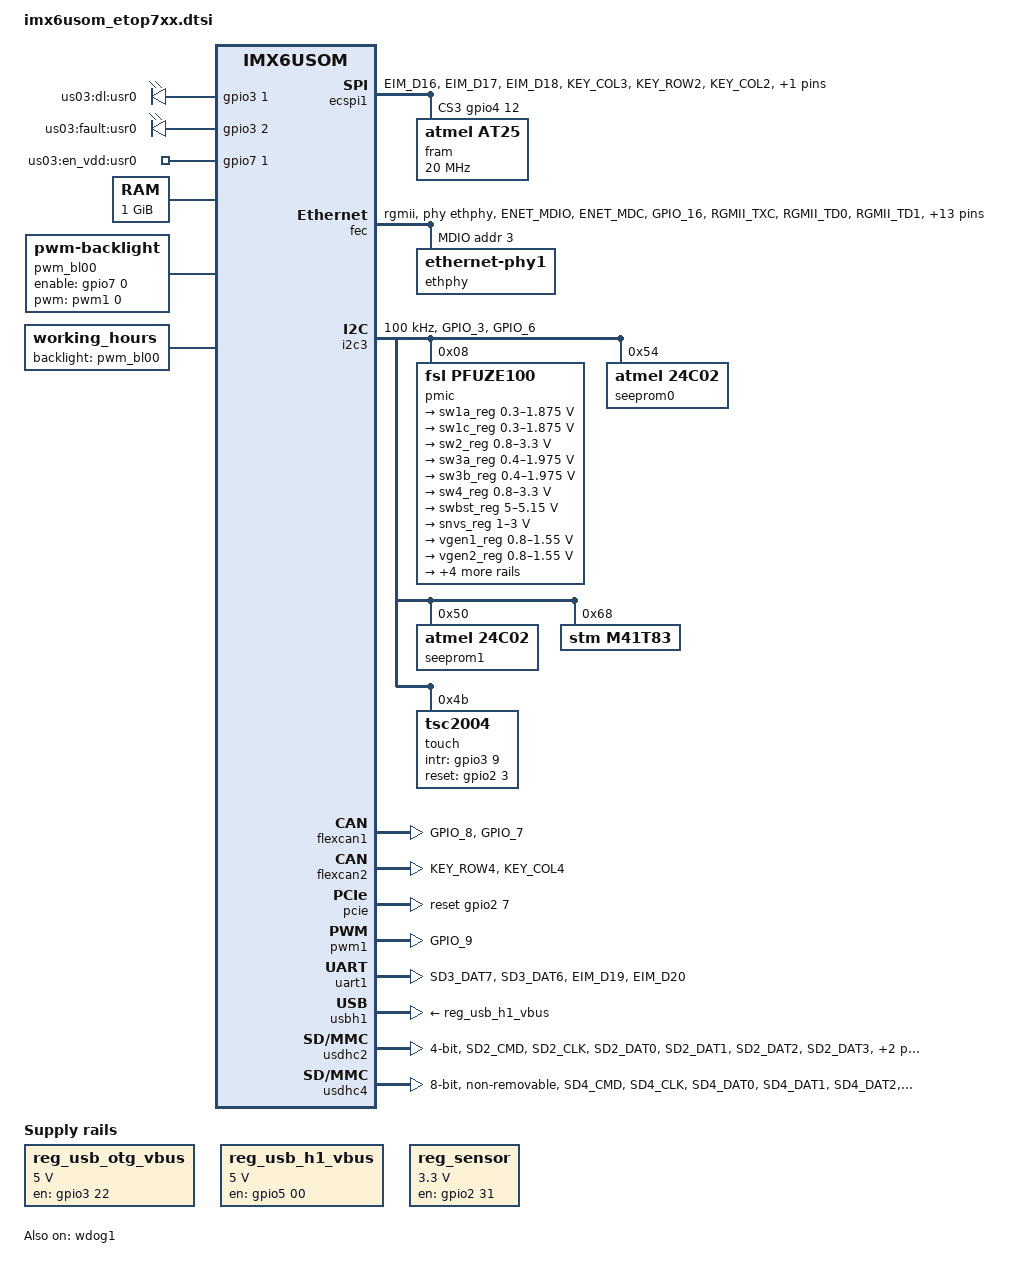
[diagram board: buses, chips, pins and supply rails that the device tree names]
/*
 * Copyright (C) 2016 Exor S.p.a
 * Written by: G. Pavoni Exor S.p.a. (starting from the imx6usom_be15a.dtsi file)
 * 
 * Copyright 2012 Freescale Semiconductor, Inc.
 * Copyright 2011 Linaro Ltd.
 *
 * The code contained herein is licensed under the GNU General Public
 * License. You may obtain a copy of the GNU General Public License
 * Version 2 or later at the following locations:
 *
 * http://www.opensource.org/licenses/gpl-license.html
 * http://www.gnu.org/copyleft/gpl.html
 */

#include <dt-bindings/input/input.h>

/ {
	aliases {
		mxcfb0 = &mxcfb1;
		mmc3 = &usdhc1;
		mmc0 = &usdhc2;
		mmc2 = &usdhc3;
		mmc1 = &usdhc4;
		i2c2 = &i2c1;
		i2c1 = &i2c2;
		i2c0 = &i2c3;
	};

	leds {
		pinctrl-names = "default";
		pinctrl-0 = <&user_leds_default>;

		compatible = "gpio-leds";

		led@1 {
			label = "us03:dl:usr0";
			gpios = <&gpio3 1 0>;
			default-state = "on";
		};

		led@2 {
			label = "us03:fault:usr0";
			gpios = <&gpio3 2 0>;
			default-state = "off";
		};
		
		led@3 {
			label = "us03:en_vdd:usr0";
			gpios = <&gpio7 1 0>;
			default-state = "on";
		};
	};

	memory {
		reg = <0x10000000 0x40000000>;
	};

	regulators {
		compatible = "simple-bus";
		#address-cells = <1>;
		#size-cells = <0>;

		reg_usb_otg_vbus: regulator@0 {
			compatible = "regulator-fixed";
			reg = <0>;
			regulator-name = "usb_otg_vbus";
			regulator-min-microvolt = <5000000>;
			regulator-max-microvolt = <5000000>;
			gpio = <&gpio3 22 0>;
			enable-active-high;
		};

		reg_usb_h1_vbus: regulator@1 {
			compatible = "regulator-fixed";
			reg = <1>;
			regulator-name = "usb_h1_vbus";
			regulator-min-microvolt = <5000000>;
			regulator-max-microvolt = <5000000>;
			gpio = <&gpio5 00 0>;
			enable-active-high;
		};
		reg_sensor: regulator@3 {
			compatible = "regulator-fixed";
			reg = <3>;
			regulator-name = "sensor-supply";
			regulator-min-microvolt = <3300000>;
			regulator-max-microvolt = <3300000>;
			gpio = <&gpio2 31 0>;
			startup-delay-us = <500>;
			enable-active-high;
		};
	};

	mxcfb1: fb@0 {
		compatible = "fsl,mxc_sdc_fb";
		disp_dev = "lcd";
		interface_pix_fmt = "RGB565";
		mode_str ="CLAA-WVGA";
		default_bpp = <16>;
		int_clk = <0>;
		late_init = <0>;
		status = "disabled";
	};

	lcd@0 {
		compatible = "fsl,lcd";
		ipu_id = <0>;
		disp_id = <0>;
		default_ifmt = "RGB565";
		pinctrl-names = "default";
		pinctrl-0 = <&pinctrl_ipu1>;
		status = "okay";
	};

	pwm_bl00: backlight {
		compatible = "pwm-backlight";
		pwms = <&pwm1 0 50000>;
		brightness-levels = <0 4 8 12 16 20 24 28 32 36 40 44 48 52 56 60 64 68 72 76 80 84 88 92 96 100>;
		default-brightness-level = <25>;
		enable-gpios = <&gpio7 0 0>;
		status = "okay";
	};

	working_hours {
	  compatible = "working_hours";
	  eeprom = <&seeprom0>;
	  backlight = <&pwm_bl00>;
	  rtcnvram = <&m41t83>;
	  status = "okay";
	};
};

&cpu0 {
	arm-supply = <&sw1a_reg>;
	soc-supply = <&sw1c_reg>;
};

&ecspi1 {
	fsl,spi-num-chipselects = <4>;
	cs-gpios = <&gpio5 25 0>, /* CS0 */
	           <&gpio4 10 0>, /* CS1 */
	           <&gpio4 11 0>, /* CS2 */
	           <&gpio4 12 0>; /* CS3 */
	pinctrl-names = "default";
	pinctrl-0 = <&pinctrl_ecspi1>;
	status = "okay";

	fram: at25@3 {
		compatible = "atmel,at25", "st,m95256";
		reg = <3>;
		spi-max-frequency = <20000000>;
		pagesize = <64>;
		size = <65536>;
		address-width = <16>;
	};
	
};

&fec {
	pinctrl-names = "default";
	pinctrl-0 = <&pinctrl_enet>;
	phy-mode = "rgmii";
	status = "okay";

	phy-handle = <&ethphy>;
	mdio {
		#address-cells = <1>;
		#size-cells = <0>;
		ethphy: ethernet-phy1 {
			reg = <3>;
		};
	};
};

&i2c3 {
	clock-frequency = <100000>;
	pinctrl-names = "default";
	pinctrl-0 = <&pinctrl_i2c3>;
	status = "okay";

	pmic: pfuze100@08 {
		compatible = "fsl,pfuze100";
		reg = <0x08>;

		regulators {
			sw1a_reg: sw1ab {
				regulator-min-microvolt = <300000>;
				regulator-max-microvolt = <1875000>;
				regulator-boot-on;
				regulator-always-on;
				regulator-ramp-delay = <6250>;
			};

			sw1c_reg: sw1c {
				regulator-min-microvolt = <300000>;
				regulator-max-microvolt = <1875000>;
				regulator-boot-on;
				regulator-always-on;
				regulator-ramp-delay = <6250>;
			};

			sw2_reg: sw2 {
				regulator-min-microvolt = <800000>;
				regulator-max-microvolt = <3300000>;
				regulator-boot-on;
				regulator-always-on;
			};

			sw3a_reg: sw3a {
				regulator-min-microvolt = <400000>;
				regulator-max-microvolt = <1975000>;
				regulator-boot-on;
				regulator-always-on;
			};

			sw3b_reg: sw3b {
				regulator-min-microvolt = <400000>;
				regulator-max-microvolt = <1975000>;
				regulator-boot-on;
				regulator-always-on;
			};

			sw4_reg: sw4 {
				regulator-min-microvolt = <800000>;
				regulator-max-microvolt = <3300000>;
			};

			swbst_reg: swbst {
				regulator-min-microvolt = <5000000>;
				regulator-max-microvolt = <5150000>;
			};

			snvs_reg: vsnvs {
				regulator-min-microvolt = <1000000>;
				regulator-max-microvolt = <3000000>;
				regulator-boot-on;
				regulator-always-on;
			};

			vref_reg: vrefddr {
				regulator-boot-on;
				regulator-always-on;
			};

			vgen1_reg: vgen1 {
				regulator-min-microvolt = <800000>;
				regulator-max-microvolt = <1550000>;
			};

			vgen2_reg: vgen2 {
				regulator-min-microvolt = <800000>;
				regulator-max-microvolt = <1550000>;
			};

			vgen3_reg: vgen3 {
				regulator-min-microvolt = <1800000>;
				regulator-max-microvolt = <3300000>;
			};

			vgen4_reg: vgen4 {
				regulator-min-microvolt = <1800000>;
				regulator-max-microvolt = <3300000>;
				regulator-always-on;
			};

			vgen5_reg: vgen5 {
				regulator-min-microvolt = <1800000>;
				regulator-max-microvolt = <3300000>;
				regulator-always-on;
			};

			vgen6_reg: vgen6 {
				regulator-min-microvolt = <1800000>;
				regulator-max-microvolt = <3300000>;
				regulator-always-on;
			};
		};
	};

	seeprom0:seeprom0@54 {
		compatible = "atmel,24c02";
		reg = <0x54>;
	};

	seeprom1:seeprom1@50 {
		compatible = "atmel,24c02";
		reg = <0x50>;
	};
	
	m41t83:m41t83@68 {
		compatible = "stm,m41t83";
		reg = <0x68>;
	};

	touch: touch@4b {
	  compatible = "tsc2004";
	  reg = <0x4b>;
	  x-plate-ohms = <400>;
	  intr-gpio = <&gpio3 9 0>; /* GPIO3 9 as intr pin input */
	  reset-gpio = <&gpio2 3 0>; /* GPIO2 3 as HW reset output */
	};
	
};

&iomuxc {
	pinctrl-names = "default";
	pinctrl-0 = <&pinctrl_hog>;

	imx6qdl-sabresd {
		pinctrl_hog: hoggrp {
			fsl,pins = <
				MX6QDL_PAD_NANDF_CLE__GPIO6_IO07 0x80000000
				MX6QDL_PAD_NANDF_ALE__GPIO6_IO08 0x80000000
				MX6QDL_PAD_EIM_D22__GPIO3_IO22  0x80000000
				MX6QDL_PAD_EIM_WAIT__GPIO5_IO00 0x0000b0b0  /* USB host reset */
				MX6QDL_PAD_SD3_DAT5__GPIO7_IO00 0x0000b0b0  /* backlight enable */
				MX6QDL_PAD_EIM_DA9__GPIO3_IO09 0x0000b0b0   /* touch intr */
				MX6QDL_PAD_NANDF_D3__GPIO2_IO03 0x0000b0b0 /* tsc2004 touch reset */
				MX6QDL_PAD_NANDF_D7__GPIO2_IO07 0x0000b0b0 /* PCI-E reset */
			>;
		};

		user_leds_default: gpio_ledsgrp {
			fsl,pins = <
				MX6QDL_PAD_EIM_DA1__GPIO3_IO01  0x0000b0b0
				MX6QDL_PAD_EIM_DA2__GPIO3_IO02  0x0000b0b0
				MX6QDL_PAD_SD3_DAT4__GPIO7_IO01 0x0000b0b0
			>;
		};
		
		pinctrl_ecspi1: ecspi1grp {
			fsl,pins = <
				MX6QDL_PAD_EIM_D16__ECSPI1_SCLK  0x1b0b1 /* SCLK */
				MX6QDL_PAD_EIM_D17__ECSPI1_MISO  0x1b0b1 /* MISO */
				MX6QDL_PAD_EIM_D18__ECSPI1_MOSI  0x1b0b1 /* MOSI */
				MX6QDL_PAD_KEY_COL3__GPIO4_IO12  0x1b0b1 /* CS3  */
				MX6QDL_PAD_KEY_ROW2__GPIO4_IO11  0x1b0b1 /* CS2  */
				MX6QDL_PAD_KEY_COL2__GPIO4_IO10  0x1b0b1 /* CS1  */
				MX6QDL_PAD_CSI0_DAT7__GPIO5_IO25 0x1b0b1 /* CS0  */
			>;
		};

		pinctrl_enet: enetgrp {
			fsl,pins = <
				MX6QDL_PAD_ENET_MDIO__ENET_MDIO		0x1b0b0
				MX6QDL_PAD_ENET_MDC__ENET_MDC		0x1b0b0
				/* GPIO16 -> AR8035 25MHz */
				MX6QDL_PAD_GPIO_16__ENET_REF_CLK	0xc0000000
				MX6QDL_PAD_RGMII_TXC__RGMII_TXC		0x80000000
				MX6QDL_PAD_RGMII_TD0__RGMII_TD0		0x1b0b0
				MX6QDL_PAD_RGMII_TD1__RGMII_TD1		0x1b0b0
				MX6QDL_PAD_RGMII_TD2__RGMII_TD2		0x1b0b0
				MX6QDL_PAD_RGMII_TD3__RGMII_TD3		0x1b0b0
				MX6QDL_PAD_RGMII_TX_CTL__RGMII_TX_CTL	0x1b0b0
				/* AR8035 CLK_25M --> ENET_REF_CLK (V22) */
				MX6QDL_PAD_ENET_REF_CLK__ENET_TX_CLK	0x0a0b1
				/* AR8035 pin strapping: IO voltage: pull up */
				MX6QDL_PAD_RGMII_RXC__RGMII_RXC		0x1b0b0
				/* AR8035 pin strapping: PHYADDR#0: pull down */
				MX6QDL_PAD_RGMII_RD0__RGMII_RD0		0x130b0
				/* AR8035 pin strapping: PHYADDR#1: pull up */
				MX6QDL_PAD_RGMII_RD1__RGMII_RD1		0x1b0b0
				/* AR8035 pin strapping: MODE#1: pull up */
				MX6QDL_PAD_RGMII_RD2__RGMII_RD2		0x1b0b0
				/* AR8035 pin strapping: MODE#3: pull up */
				MX6QDL_PAD_RGMII_RD3__RGMII_RD3		0x1b0b0
				/* AR8035 pin strapping: MODE#0: pull down */
				MX6QDL_PAD_RGMII_RX_CTL__RGMII_RX_CTL	0x130b0

				/*
				 * Set RMII pins to HI-Z
				 */
				MX6QDL_PAD_ENET_CRS_DV__GPIO1_IO25	0x03000
				MX6QDL_PAD_ENET_RXD0__GPIO1_IO27	0x03000
				MX6QDL_PAD_ENET_RXD1__GPIO1_IO26	0x03000
				>;
		};
		
		pinctrl_enet_irq: enetirqgrp {
			fsl,pins = <
				MX6QDL_PAD_GPIO_6__ENET_IRQ		0x000b1
			>;
		};

		pinctrl_i2c3: i2c3grp {
			fsl,pins = <
				MX6QDL_PAD_GPIO_3__I2C3_SCL		0x4001b8b1
				MX6QDL_PAD_GPIO_6__I2C3_SDA		0x4001b8b1
			>;
		};

		pinctrl_ipu1: ipu1grp {
			fsl,pins = <
				MX6QDL_PAD_DI0_DISP_CLK__IPU1_DI0_DISP_CLK 0x1b0b0
				MX6QDL_PAD_DI0_PIN15__IPU1_DI0_PIN15       0x1b0b0
				MX6QDL_PAD_DI0_PIN2__IPU1_DI0_PIN02        0x1b0b0
				MX6QDL_PAD_DI0_PIN3__IPU1_DI0_PIN03        0x1b0b0
				MX6QDL_PAD_DISP0_DAT0__IPU1_DISP0_DATA00   0x1b0b0
				MX6QDL_PAD_DISP0_DAT1__IPU1_DISP0_DATA01   0x1b0b0
				MX6QDL_PAD_DISP0_DAT2__IPU1_DISP0_DATA02   0x1b0b0
				MX6QDL_PAD_DISP0_DAT3__IPU1_DISP0_DATA03   0x1b0b0
				MX6QDL_PAD_DISP0_DAT4__IPU1_DISP0_DATA04   0x1b0b0
				MX6QDL_PAD_DISP0_DAT5__IPU1_DISP0_DATA05   0x1b0b0
				MX6QDL_PAD_DISP0_DAT6__IPU1_DISP0_DATA06   0x1b0b0
				MX6QDL_PAD_DISP0_DAT7__IPU1_DISP0_DATA07   0x1b0b0
				MX6QDL_PAD_DISP0_DAT8__IPU1_DISP0_DATA08   0x1b0b0
				MX6QDL_PAD_DISP0_DAT9__IPU1_DISP0_DATA09   0x1b0b0
				MX6QDL_PAD_DISP0_DAT10__IPU1_DISP0_DATA10  0x1b0b0
				MX6QDL_PAD_DISP0_DAT11__IPU1_DISP0_DATA11  0x1b0b0
				MX6QDL_PAD_DISP0_DAT12__IPU1_DISP0_DATA12  0x1b0b0
				MX6QDL_PAD_DISP0_DAT13__IPU1_DISP0_DATA13  0x1b0b0
				MX6QDL_PAD_DISP0_DAT14__IPU1_DISP0_DATA14  0x1b0b0
				MX6QDL_PAD_DISP0_DAT15__IPU1_DISP0_DATA15  0x1b0b0
				MX6QDL_PAD_DISP0_DAT16__IPU1_DISP0_DATA16  0x1b0b0
				MX6QDL_PAD_DISP0_DAT17__IPU1_DISP0_DATA17  0x1b0b0
				MX6QDL_PAD_DISP0_DAT18__IPU1_DISP0_DATA18  0x1b0b0
				MX6QDL_PAD_DISP0_DAT19__IPU1_DISP0_DATA19  0x1b0b0
				MX6QDL_PAD_DISP0_DAT20__IPU1_DISP0_DATA20  0x1b0b0
				MX6QDL_PAD_DISP0_DAT21__IPU1_DISP0_DATA21  0x1b0b0
				MX6QDL_PAD_DISP0_DAT22__IPU1_DISP0_DATA22  0x1b0b0
				MX6QDL_PAD_DISP0_DAT23__IPU1_DISP0_DATA23  0x1b0b0
			>;
		};

		pinctrl_pwm1: pwm1grp {
			fsl,pins = <
				MX6QDL_PAD_GPIO_9__PWM1_OUT		0x1b0b1
			>;
		};

		pinctrl_uart1: uart1grp {
			fsl,pins = <
				MX6QDL_PAD_SD3_DAT7__UART1_TX_DATA	0x1b0b1
				MX6QDL_PAD_SD3_DAT6__UART1_RX_DATA	0x1b0b1
				MX6QDL_PAD_EIM_D19__UART1_CTS_B         0x1b0b1
				MX6QDL_PAD_EIM_D20__UART1_RTS_B         0x1b0b1
			>;
		};

		pinctrl_uart2: uart2grp {
			fsl,pins = <
				MX6QDL_PAD_EIM_D26__UART2_TX_DATA	0x1b0b1
				MX6QDL_PAD_EIM_D27__UART2_RX_DATA	0x1b0b1
				MX6QDL_PAD_EIM_D29__GPIO3_IO29		0x1b0b1
				MX6QDL_PAD_EIM_D28__GPIO3_IO28		0x1b0b1
			>;
		};

		pinctrl_uart3: uart3grp {
			fsl,pins = <
				MX6QDL_PAD_EIM_D24__UART3_TX_DATA	0x1b0b1
				MX6QDL_PAD_EIM_D25__UART3_RX_DATA	0x1b0b1
				MX6QDL_PAD_EIM_D31__GPIO3_IO31		0x1b0b1
				MX6QDL_PAD_EIM_D23__GPIO3_IO23		0x1b0b1
			>;
		};

		pinctrl_uart4: uart4grp {
			fsl,pins = <
				MX6QDL_PAD_CSI0_DAT12__UART4_TX_DATA	0x1b0b1
				MX6QDL_PAD_CSI0_DAT13__UART4_RX_DATA	0x1b0b1
				MX6QDL_PAD_CSI0_DAT16__UART4_RTS_B	0x1b0b1
				MX6QDL_PAD_CSI0_DAT17__UART4_CTS_B	0x1b0b1
			>;
		};
		
		pinctrl_usdhc2: usdhc2grp {
			fsl,pins = <
				MX6QDL_PAD_SD2_CMD__SD2_CMD		0x17059
				MX6QDL_PAD_SD2_CLK__SD2_CLK		0x10059
				MX6QDL_PAD_SD2_DAT0__SD2_DATA0		0x17059
				MX6QDL_PAD_SD2_DAT1__SD2_DATA1		0x17059
				MX6QDL_PAD_SD2_DAT2__SD2_DATA2		0x17059
				MX6QDL_PAD_SD2_DAT3__SD2_DATA3		0x17059
				MX6QDL_PAD_GPIO_4__GPIO1_IO04		0x1b0b0
			>;
		};

		pinctrl_usdhc4: usdhc4grp {
			fsl,pins = <
				MX6QDL_PAD_SD4_CMD__SD4_CMD		0x17059
				MX6QDL_PAD_SD4_CLK__SD4_CLK		0x10059
				MX6QDL_PAD_SD4_DAT0__SD4_DATA0		0x17059
				MX6QDL_PAD_SD4_DAT1__SD4_DATA1		0x17059
				MX6QDL_PAD_SD4_DAT2__SD4_DATA2		0x17059
				MX6QDL_PAD_SD4_DAT3__SD4_DATA3		0x17059
				MX6QDL_PAD_SD4_DAT4__SD4_DATA4		0x17059
				MX6QDL_PAD_SD4_DAT5__SD4_DATA5		0x17059
				MX6QDL_PAD_SD4_DAT6__SD4_DATA6		0x17059
				MX6QDL_PAD_SD4_DAT7__SD4_DATA7		0x17059
			>;
		};

		pinctrl_flexcan1: flexcan1grp {
			fsl,pins = <
				MX6QDL_PAD_GPIO_8__FLEXCAN1_RX		0x1b020
				MX6QDL_PAD_GPIO_7__FLEXCAN1_TX		0x1b020
			>;
		};

		pinctrl_flexcan2: flexcan2grp {
			fsl,pins = <
				MX6QDL_PAD_KEY_ROW4__FLEXCAN2_RX	0x1b020
				MX6QDL_PAD_KEY_COL4__FLEXCAN2_TX	0x1b020
			>;
		};
	};
};

&gpc {
	/* use ldo-enable and wdt1 for board reset */
	fsl,ldo-bypass = <0>;
	fsl,wdog-reset = <1>;
};

&hdmi_core {
	ipu_id = <0>;
	disp_id = <0>;
	status = "disabled";
};

&flexcan1 {
	pinctrl-names = "default";
	pinctrl-0 = <&pinctrl_flexcan1>;
	status = "okay";
};

&flexcan2 {
	pinctrl-names = "default";
	pinctrl-0 = <&pinctrl_flexcan2>;
	status = "okay";
};

&pcie {
	/*power-on-gpio = <&gpio3 19 0>;*/
	reset-gpio = <&gpio2 7 0>;
	status = "okay";
};

&pwm1 {
	pinctrl-names = "default";
	pinctrl-0 = <&pinctrl_pwm1>;
	status = "okay";
};

&uart1 {
	pinctrl-names = "default";
	pinctrl-0 = <&pinctrl_uart1>;
	fsl,uart-has-rtscts;
	status = "okay";
};

&uart2 {
	pinctrl-names = "default";
	pinctrl-0 = <&pinctrl_uart2>;
	rts-gpio = <&gpio3 29 0>;
	be15mode-gpio = <&gpio3 28 0>;
	fsl,uart-has-rtscts;
	status = "disabled";
};

&uart3 {
	pinctrl-names = "default";
	pinctrl-0 = <&pinctrl_uart3>;
	rts-gpio = <&gpio3 31 0>;
	be15mode-gpio = <&gpio3 23 0>;
	fsl,uart-has-rtscts;
	status = "disabled";
};

&uart4 {
	pinctrl-names = "default";
	pinctrl-0 = <&pinctrl_uart4>;
	fsl,uart-has-rtscts;
	status = "disabled";
};

&usbh1 {
	vbus-supply = <&reg_usb_h1_vbus>;
	status = "okay";
};

&usdhc2 {
	pinctrl-names = "default";
	pinctrl-0 = <&pinctrl_usdhc2>;
	bus-width = <4>;
	cd-gpios = <&gpio1 4 0>;
	no-1-8-v;
	keep-power-in-suspend;
	enable-sdio-wakeup;
	status = "okay";
};

&usdhc4 {
	pinctrl-names = "default";
	pinctrl-0 = <&pinctrl_usdhc4>;
	bus-width = <8>;
	non-removable;
	no-1-8-v;
	keep-power-in-suspend;
	status = "okay"; 
};

&wdog1 {
	status = "okay";
};

&wdog2 {
	status = "disabled";
};
